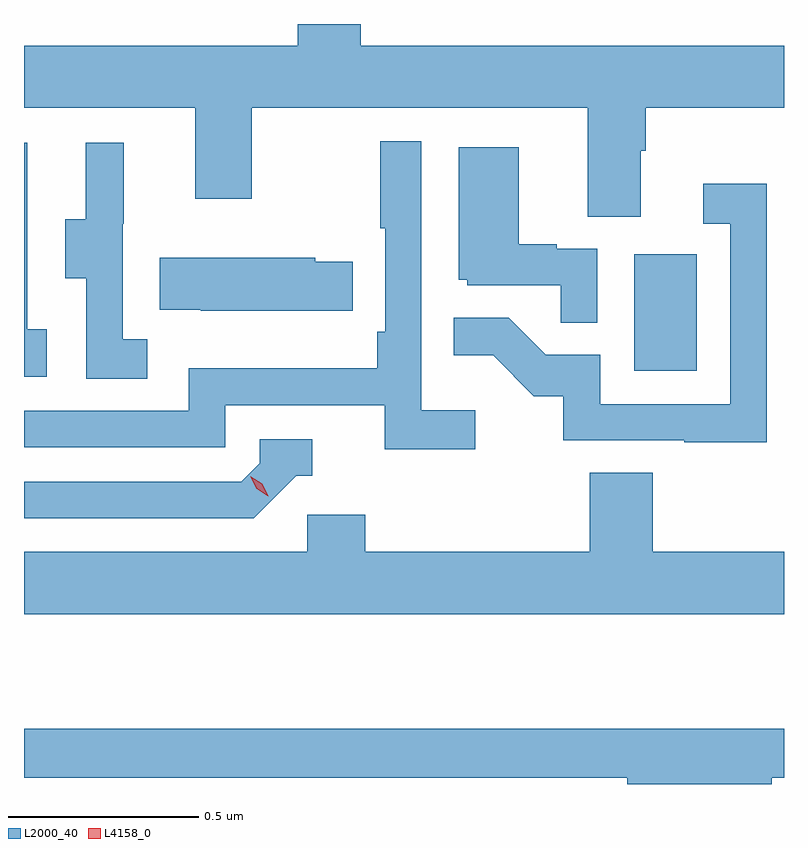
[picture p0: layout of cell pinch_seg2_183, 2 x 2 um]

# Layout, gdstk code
import gdstk
lib = gdstk.Library(unit=1e-6, precision=1e-09)
def R(c, l, rs):  # rectangles x0, y0, x1, y1
    for r in rs: c.add(gdstk.rectangle(r[:2], r[2:], *l))
def P(c, l, *ps):  # polygons
    for p in ps: c.add(gdstk.Polygon(p, *l))
L2000_40 = (2000, 40)
L4158_0 = (4158, 0)

pinch_seg2_183 = lib.new_cell('pinch_seg2_183')
R(pinch_seg2_183, L2000_40, [(1084.442,645.612,1084.606,645.919)])
P(pinch_seg2_183, L2000_40, [(1084.459,646.192),(1084.472,646.192),(1084.472,646.304),(1084.836,646.304),(1084.836,646.468),(1083.722,646.468),(1083.722,646.525),(1083.557,646.525),(1083.557,646.468),(1082.836,646.468),(1082.836,646.304),(1083.287,646.304),(1083.287,646.065),(1083.435,646.065),(1083.435,646.304),(1084.319,646.304),(1084.319,646.018),(1084.459,646.018)],
  [(1084.024,645.508),(1083.882,645.508),(1083.882,646.216),(1083.774,646.216),(1083.774,645.988),(1083.786,645.988),(1083.786,645.715),(1083.766,645.715),(1083.766,645.619),(1083.27,645.619),(1083.27,645.507),(1082.836,645.507),(1082.836,645.411),(1083.366,645.411),(1083.366,645.522),(1083.785,645.522),(1083.785,645.406),(1084.024,645.406)],
  [(1082.896,645.722),(1082.844,645.722),(1082.844,646.213),(1082.836,646.213),(1082.836,645.597),(1082.896,645.597)],
  [(1083.16,645.695),(1083.096,645.695),(1083.096,645.999),(1083.098,645.999),(1083.098,646.213),(1082.999,646.213),(1082.999,646.011),(1082.945,646.011),(1082.945,645.856),(1083,645.856),(1083,645.592),(1083.16,645.592)],
  [(1084.344,645.933),(1084.238,645.933),(1084.238,645.946),(1084.138,645.946),(1084.138,646.201),(1083.98,646.201),(1083.98,645.852),(1084.002,645.852),(1084.002,645.837),(1084.249,645.837),(1084.249,645.739),(1084.344,645.739)],
  [(1084.791,646.105),(1084.623,646.105),(1084.623,645.999),(1084.695,645.999),(1084.695,645.525),(1084.353,645.525),(1084.353,645.654),(1084.209,645.654),(1084.111,645.752),(1083.967,645.752),(1083.967,645.653),(1084.071,645.653),(1084.178,645.546),(1084.255,645.546),(1084.255,645.429),(1084.573,645.429),(1084.573,645.424),(1084.791,645.424)],
  [(1083.701,645.9),(1083.603,645.9),(1083.603,645.91),(1083.193,645.91),(1083.193,645.773),(1083.301,645.773),(1083.301,645.77),(1083.701,645.77)],
  [(1083.552,645.336),(1083.595,645.336),(1083.595,645.432),(1083.456,645.432),(1083.456,645.369),(1083.408,645.321),(1082.836,645.321),(1082.836,645.225),(1083.441,645.225)],
  [(1084.836,645.136),(1084.49,645.136),(1084.49,645.344),(1084.325,645.344),(1084.325,645.136),(1083.734,645.136),(1083.734,645.234),(1083.582,645.234),(1083.582,645.136),(1082.836,645.136),(1082.836,644.972),(1084.836,644.972)],
  [(1084.804,644.542),(1084.836,644.542),(1084.836,644.671),(1082.836,644.671),(1082.836,644.542),(1084.424,644.542),(1084.424,644.525),(1084.804,644.525)])
P(pinch_seg2_183, L4158_0, [(1083.479,645.282),(1083.448,645.302),(1083.432,645.335),(1083.432,645.335),(1083.432,645.335),(1083.463,645.315),(1083.479,645.283),(1083.479,645.282)])

lib.write_gds('pinch_seg2_183.gds')
